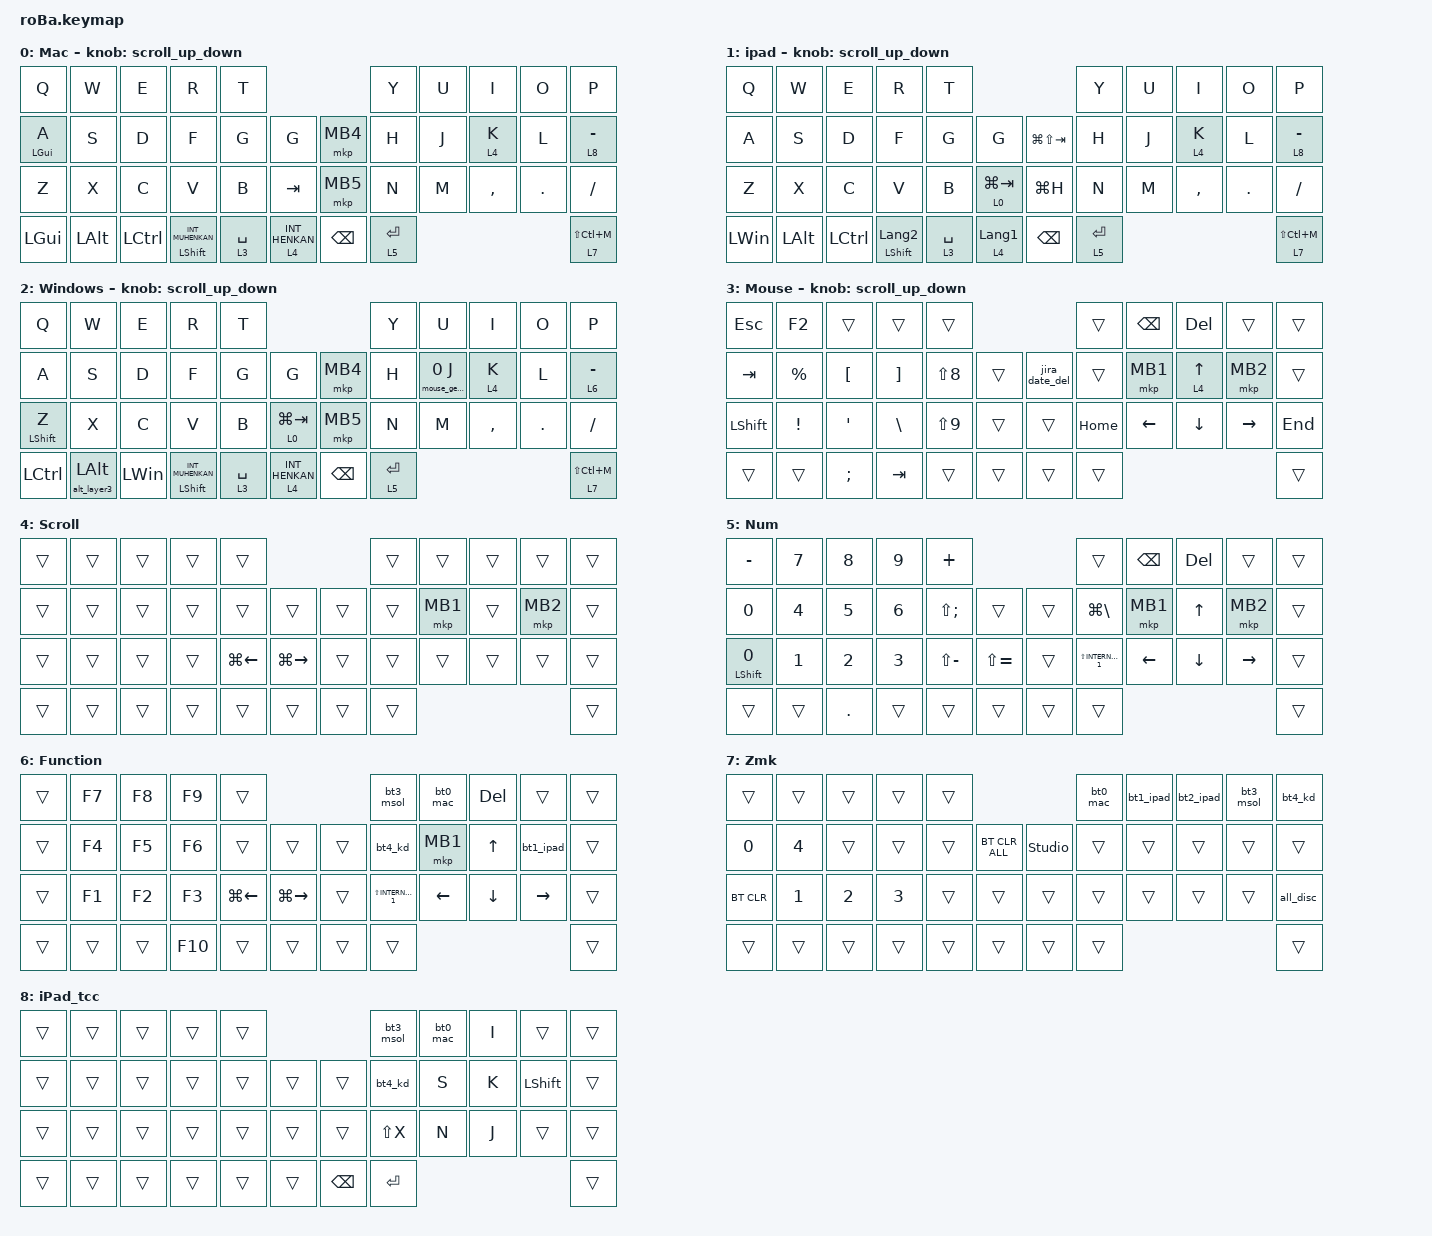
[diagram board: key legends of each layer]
#undef ZMK_POINTING_DEFAULT_SCRL_VAL

#define ZMK_POINTING_DEFAULT_SCRL_VAL 100
#define MOUSE 4
#define SCROLL 5
#define NUM 6

#include <scroll-snap.dtsi>
#include <input/processors.dtsi>
#include <mouse-gesture.dtsi>
#include <behaviors.dtsi>
#include <dt-bindings/zmk/bt.h>
#include <dt-bindings/zmk/keys.h>
#include <dt-bindings/zmk/pointing.h>

/* スクロールスナップ */

&zip_scroll_snap {
    x-threshold = <5 8>;
    y-threshold = <8 5>;
    xy-threshold = <5 8>;
    require-n-samples = <3>;
    immediate-snap-threshold = <500>;
    lock-duration-ms = <200>;
    lock-for-next-n-events = <10>;
    idle-reset-timeout-ms = <200>;
};

/* マウスジェスチャー */

&zip_mouse_gesture {
    stroke-size = <150>;
    enable-eager-mode;

    history_back {
        pattern = <GESTURE_RIGHT>;
        bindings = <&kp LA(LEFT)>;
    };

    history_forward {
        pattern = <GESTURE_LEFT>;
        bindings = <&kp LA(RIGHT)>;
    };

    close_tab {
        pattern = <GESTURE_DOWN GESTURE_RIGHT>;
        bindings = <&kp LA(F4)>;
    };

    new_tab {
        pattern = <GESTURE_DOWN GESTURE_LEFT>;
        bindings = <&kp LC(T)>;
    };

    app_switcher {
        pattern = <GESTURE_DOWN GESTURE_UP>;
        bindings = <&kp LG(TAB)>;
    };

    virtual_desktop_prev {
        pattern = <GESTURE_LEFT GESTURE_DOWN>;
        bindings = <&kp LG(LC(LEFT))>;
    };

    virtual_desktop_next {
        pattern = <GESTURE_RIGHT GESTURE_DOWN>;
        bindings = <&kp LG(LC(RIGHT))>;
    };
};

&mt {
    flavor = "balanced";
    quick-tap-ms = <0>;
};

&mouse_gesture_kp {
    tapping-term-ms = <200>;
    quick-tap-ms = <250>;
    flavor = "balanced";
};

&mouse_gesture_mkp {
    tapping-term-ms = <200>;
    quick-tap-ms = <250>;
    flavor = "balanced";
};

/ {
    combos {
        compatible = "zmk,combos";

        mb1 {
            bindings = <&mkp MB1>;
            key-positions = <18 19>;
            layers = <2 1 0>;
            timeout-ms = <100>;
        };

        mb2 {
            bindings = <&mkp MB2>;
            key-positions = <19 20>;
            layers = <2 0 1>;
        };

        app_switch {
            bindings = <&kp F3>;
            key-positions = <13 12>;
            layers = <0>;
            timeout-ms = <100>;
        };

        globe {
            bindings = <&kp C_AC_NEXT_KEYBOARD_LAYOUT_SELECT>;
            key-positions = <20 21>;
            layers = <0>;
        };
    };

    macros {
        bt0_mac: bt0_mac {
            compatible = "zmk,behavior-macro";
            #binding-cells = <0>;
            bindings =
                <&tog_off 0 &tog_off 1 &tog_off 2>,
                <&macro_wait_time 200>,
                <&bt BT_SEL 0>,
                <&macro_wait_time 500>,
                <&tog_on 0>;

            label = "bt0_mac";
        };

        bt1_ipad: bt1_ipad {
            compatible = "zmk,behavior-macro";
            #binding-cells = <0>;
            bindings =
                <&tog_off 0 &tog_off 1 &tog_off 2>,
                <&macro_wait_time 200>,
                <&bt BT_SEL 1>,
                <&macro_wait_time 500>,
                <&tog_on 1>;

            label = "bt1_ipad";
        };

        bt2_ipad: bt2_ipad {
            compatible = "zmk,behavior-macro";
            #binding-cells = <0>;
            bindings =
                <&tog_off 0 &tog_off 1 &tog_off 2>,
                <&macro_wait_time 200>,
                <&bt BT_SEL 2>,
                <&macro_wait_time 500>,
                <&tog_on 1>;

            label = "bt2_ipad";
        };

        bt3_msol: bt3_msol {
            compatible = "zmk,behavior-macro";
            #binding-cells = <0>;
            bindings =
                <&tog_off 0 &tog_off 1 &tog_off 2>,
                <&macro_wait_time 200>,
                <&bt BT_SEL 3>,
                <&macro_wait_time 500>,
                <&tog_on 2>;

            label = "BT3_MSOL";
        };

        bt4_kd: bt4_kd {
            compatible = "zmk,behavior-macro";
            #binding-cells = <0>;
            bindings =
                <&tog_off 0 &tog_off 1 &tog_off 2>,
                <&macro_wait_time 200>,
                <&bt BT_SEL 4>,
                <&macro_wait_time 500>,
                <&tog_on 2>;

            label = "BT4_KD";
        };

        jira_date_del: jira_date_del {
            compatible = "zmk,behavior-macro";
            #binding-cells = <0>;
            bindings = <&kp F2 &kp LC(A) &kp DEL &kp ENTER &kp DOWN>;
            label = "JIRA_DATE_DEL";
        };

        all_disc: all_disc {
            compatible = "zmk,behavior-macro";
            #binding-cells = <0>;
            bindings = <&bt BT_DISC 0 &bt BT_DISC 1 &bt BT_DISC 2 &bt BT_DISC 3 &bt BT_DISC 4>;
            label = "ALL_DISC";
        };

        alt_layer3: alt_layer3 {
            compatible = "zmk,behavior-macro";
            #binding-cells = <0>;
            wait-ms = <0>;
            tap-ms = <0>;

            // 押している間だけ Layer3 + LEFT_ALT を両方押す
            // 離したら両方離す

            bindings =
                <&macro_press>,
                <&mo 3 &kp LEFT_ALT>,
                <&macro_pause_for_release>,
                <&macro_release>,
                <&mo 3 &kp LEFT_ALT>;
        };
    };

    behaviors {
        lt_to_layer_0: lt_to_layer_0 {
            compatible = "zmk,behavior-hold-tap";
            label = "LAYER_TAP_TO_0";
            bindings = <&mo>, <&bt0_mac>;

            #binding-cells = <2>;
            tapping-term-ms = <200>;
        };

        //エンコーダーでホイール

        scroll_up_down: behavior_sensor_rotate_mouse_wheel_up_down {
            compatible = "zmk,behavior-sensor-rotate";
            #sensor-binding-cells = <0>;
            bindings = <&msc SCRL_DOWN>, <&msc SCRL_UP>;

            // 追加: スクロールのタップ時間を設定 (20ms)

            tap-ms = <20>;
        };

        tog_on: toggle_layer_on_only {
            compatible = "zmk,behavior-toggle-layer";
            #binding-cells = <1>;
            display-name = "Toggle Layer On";
            toggle-mode = "on";
        };

        tog_off: toggle_layer_off_only {
            compatible = "zmk,behavior-toggle-layer";
            #binding-cells = <1>;
            display-name = "Toggle Layer Off";
            toggle-mode = "off";
        };

        alt3_ht: alt3_hold_tap {
            compatible = "zmk,behavior-hold-tap";
            label = "ALT3_HOLD_TAP";
            #binding-cells = <2>;
            flavor = "hold-preferred";
            tapping-term-ms = <200>;
            quick-tap-ms = <0>;

            // hold 側: alt_layer3 マクロ
            // tap 側: 通常の &kp（キーは呼び出し側で指定）

            bindings = <&alt_layer3>, <&kp>;
        };
    };

    keymap {
        compatible = "zmk,keymap";

        Mac {
            bindings = <
&kp Q           &kp W         &kp E      &kp R                        &kp T                                             &kp Y        &kp U  &kp I      &kp O       &kp P
&mt LEFT_GUI A  &kp S         &kp D      &kp F                        &kp G        &kp G                 &mkp MB4       &kp H        &kp J  &lt 4 K    &kp L       &lt 8 MINUS
&kp Z           &kp X         &kp C      &kp V                        &kp B        &kp TAB               &mkp MB5       &kp N        &kp M  &kp COMMA  &kp PERIOD  &kp SLASH
&kp LEFT_GUI    &kp LEFT_ALT  &kp LCTRL  &mt LEFT_SHIFT INT_MUHENKAN  &lt 3 SPACE  &lt 4 INT_HENKAN      &kp BACKSPACE  &lt 5 ENTER                                &lt 7 LS(LC(M))
            >;

            sensor-bindings = <&scroll_up_down>;
        };

        ipad {
            bindings = <
&kp Q         &kp W         &kp E      &kp R                      &kp T                                               &kp Y        &kp U  &kp I      &kp O       &kp P
&kp A         &kp S         &kp D      &kp F                      &kp G        &kp G                 &kp LG(LS(TAB))  &kp H        &kp J  &lt 4 K    &kp L       &lt 8 MINUS
&kp Z         &kp X         &kp C      &kp V                      &kp B        &lt 0 LG(TAB)         &kp LG(H)        &kp N        &kp M  &kp COMMA  &kp PERIOD  &kp SLASH
&kp LEFT_WIN  &kp LEFT_ALT  &kp LCTRL  &mt LEFT_SHIFT LANGUAGE_2  &lt 3 SPACE  &lt 4 LANGUAGE_1      &kp BACKSPACE    &lt 5 ENTER                                &lt 7 LS(LC(M))
            >;

            sensor-bindings = <&scroll_up_down>;
        };

        Windows {
            bindings = <
&kp Q             &kp W                &kp E         &kp R                        &kp T                                             &kp Y        &kp U                  &kp I      &kp O       &kp P
&kp A             &kp S                &kp D         &kp F                        &kp G        &kp G                 &mkp MB4       &kp H        &mouse_gesture_kp 0 J  &lt 4 K    &kp L       &lt 6 MINUS
&mt LEFT_SHIFT Z  &kp X                &kp C         &kp V                        &kp B        &lt 0 LG(TAB)         &mkp MB5       &kp N        &kp M                  &kp COMMA  &kp PERIOD  &kp SLASH
&kp LCTRL         &alt3_ht 0 LEFT_ALT  &kp LEFT_WIN  &mt LEFT_SHIFT INT_MUHENKAN  &lt 3 SPACE  &lt 4 INT_HENKAN      &kp BACKSPACE  &lt 5 ENTER                                                &lt 7 LS(LC(M))
            >;

            sensor-bindings = <&scroll_up_down>;
        };

        Mouse {
            bindings = <
&kp ESCAPE      &kp F2           &trans            &trans             &trans                                  &trans    &kp BACKSPACE  &kp DELETE      &trans     &trans
&kp TAB         &kp PERCENT      &kp LEFT_BRACKET  &kp RIGHT_BRACKET  &kp LS(N8)  &trans      &jira_date_del  &trans    &mkp MB1       &lt 4 UP_ARROW  &mkp MB2   &trans
&kp LEFT_SHIFT  &kp EXCLAMATION  &kp APOS          &kp BACKSLASH      &kp LS(N9)  &trans      &trans          &kp HOME  &kp LEFT       &kp DOWN_ARROW  &kp RIGHT  &kp END
&trans          &trans           &kp SEMI          &kp TAB            &trans      &trans      &trans          &trans                                              &trans
            >;

            sensor-bindings = <&scroll_up_down>;
        };

        Scroll {
            bindings = <
&trans  &trans  &trans  &trans  &trans                                   &trans  &trans    &trans  &trans    &trans
&trans  &trans  &trans  &trans  &trans        &trans             &trans  &trans  &mkp MB1  &trans  &mkp MB2  &trans
&trans  &trans  &trans  &trans  &kp LG(LEFT)  &kp LG(RIGHT)      &trans  &trans  &trans    &trans  &trans    &trans
&trans  &trans  &trans  &trans  &trans        &trans             &trans  &trans                              &trans
            >;
        };

        Num {
            bindings = <
&kp MINUS          &kp NUMBER_7  &kp NUMBER_8  &kp N9        &kp PLUS                                  &trans                   &kp BACKSPACE  &kp DELETE    &trans     &trans
&kp N0             &kp NUMBER_4  &kp NUMBER_5  &kp NUMBER_6  &kp LS(SEMI)   &trans             &trans  &kp LG(BACKSLASH)        &mkp MB1       &kp UP_ARROW  &mkp MB2   &trans
&mt LEFT_SHIFT N0  &kp NUMBER_1  &kp NUMBER_2  &kp NUMBER_3  &kp LS(MINUS)  &kp LS(EQUAL)      &trans  &kp LS(INTERNATIONAL_1)  &kp LEFT       &kp DOWN      &kp RIGHT  &trans
&trans             &trans        &kp PERIOD    &trans        &trans         &trans             &trans  &trans                                                           &trans
            >;
        };

        Function {
            bindings = <
&trans  &kp F7  &kp F8  &kp F9   &trans                                   &bt3_msol                &bt0_mac  &kp DELETE    &trans     &trans
&trans  &kp F4  &kp F5  &kp F6   &trans        &trans             &trans  &bt4_kd                  &mkp MB1  &kp UP_ARROW  &bt1_ipad  &trans
&trans  &kp F1  &kp F2  &kp F3   &kp LG(LEFT)  &kp LG(RIGHT)      &trans  &kp LS(INTERNATIONAL_1)  &kp LEFT  &kp DOWN      &kp RIGHT  &trans
&trans  &trans  &trans  &kp F10  &trans        &trans             &trans  &trans                                                      &trans
            >;
        };

        Zmk {
            bindings = <
&trans        &trans        &trans        &trans        &trans                                      &bt0_mac  &bt1_ipad  &bt2_ipad  &bt3_msol  &bt4_kd
&kp NUMBER_0  &kp NUMBER_4  &trans        &trans        &trans  &bt BT_CLR_ALL      &studio_unlock  &trans    &trans     &trans     &trans     &trans
&bt BT_CLR    &kp N1        &kp NUMBER_2  &kp NUMBER_3  &trans  &trans              &trans          &trans    &trans     &trans     &trans     &all_disc
&trans        &trans        &trans        &trans        &trans  &trans              &trans          &trans                                     &trans
            >;
        };

        iPad_tcc {
            bindings = <
&trans  &trans  &trans  &trans  &trans                             &bt3_msol  &bt0_mac  &kp I  &trans          &trans
&trans  &trans  &trans  &trans  &trans  &trans      &trans         &bt4_kd    &kp S     &kp K  &kp LEFT_SHIFT  &trans
&trans  &trans  &trans  &trans  &trans  &trans      &trans         &kp LS(X)  &kp N     &kp J  &trans          &trans
&trans  &trans  &trans  &trans  &trans  &trans      &kp BACKSPACE  &kp ENTER                                   &trans
            >;
        };
    };
};
